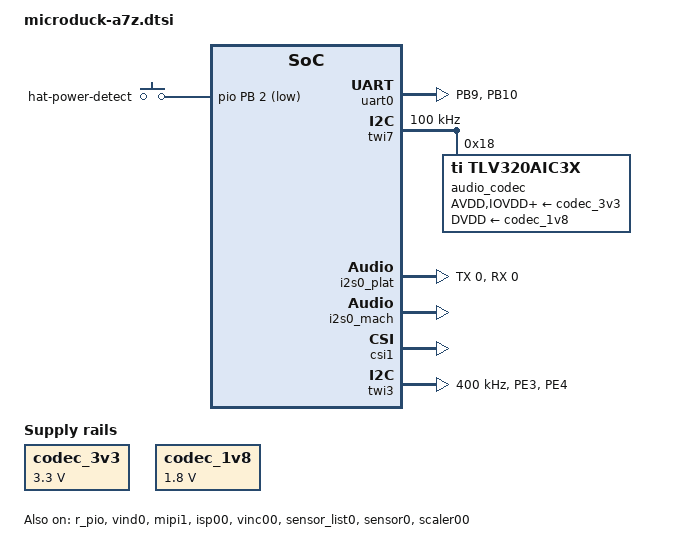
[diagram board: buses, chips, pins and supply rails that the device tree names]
/* 40-pin 排针（J11）映射——按原理图 40PIN Connector 页核对：
 *   3/5    TWI7_SDA/TWI7_SCK        → &twi7（HAT I2C@400k）
 *   7/11   PB0/PB1                   → 未用
 *   13/15  PL6_3V3/PL7_3V3           → 未用（PL7 = BMI088 INT）
 *   19/21/23/24 SPI1_MOSI/MISO/CLK/CS0 → 未用
 *   27/28  TWI2-SDA/TWI2-SCK         → 未用（HAT ID EEPROM DNP）
 *   31/33  PB2/PB3                   → PB2 = 关机检测；PB3 未用
 *   8/10   CPUX-TX/RX（UART0）       → 舵机总线
 *   12/35/36/38/40 I2S0 BCLK/LRCK/MCLK/DIN0/DOUT0 → 音频
 *   16/18 PJ24/PJ25_3V3, 22 PL5_3V3, 32 PM5_3V3, 37 PM4_3V3 → 电源
 */
// microduck HAT 适配（Cubie A7Z / Allwinner A733）
//
// ./bsp kernel 会把官方 board.dts 存成 board-a7z.dts，生成：
//   #include "board-a7z.dts"
//   #include "microduck-a7z.dtsi"
// 所以这里可以安全地覆盖/追加节点，不改官方文件。

#include <dt-bindings/gpio/gpio.h>
#include <dt-bindings/input/linux-event-codes.h>

/* =====================================================================
 * 1. 舵机串口：UART0 = PB9/PB10（排针 pin 8/10）
 *    波特率 1 Mbps、半双工由 HAT 硬件处理，DT 只负责把引脚给 UART0。
 *    官方 board.dts 里 uart0_pins_active 是空的（pins = "", ""），这里换成
 *    真实引脚；node 名不同，避免和官方节点重名。
 * ===================================================================== */
&pio {
	uart0_servo_pins: uart0-servo-pins {
		pins = "PB9", "PB10";
		function = "uart0";
		drive-strength = <10>;
	};

	uart0_servo_sleep: uart0-servo-sleep {
		pins = "PB9", "PB10";
		function = "gpio_in";
		drive-strength = <10>;
	};
};

&uart0 {
	status = "okay";
	pinctrl-names = "default", "sleep";
	pinctrl-0 = <&uart0_servo_pins>;
	pinctrl-1 = <&uart0_servo_sleep>;
};

/* 注意：console 不能再用 uart0，见 vendor/a733/boot.cmd（console=tty1）。
 * 用户态的 /dev/ttyAS0（部分 BSP 是 /dev/ttyS0）由 8250 驱动生成，
 * 具体名字上板后 ls /dev/tty* 确认。 */

/* =====================================================================
 * 2. I2C：TWI7 = PJ22/PJ23（排针 pin 3/5）→ /dev/i2c-7
 *    HAT 上的设备（RPI Robot HAT，400 kHz）：
 *      0x18 TLV320AIC3104  音频 codec（I2S 数据 + I2C 控制）
 *      0x29 VL53L5CX       ToF（Stemma 座）
 *      0x19 BMI088 加速度计 / 0x68 陀螺（焊了但官方软件不用，声明出来给 HAL）
 *      0x6A LSM6DSV16X     D1 版 HAT 用它替代 BMI088（默认不打开）
 * ===================================================================== */
&twi7 {
	status = "okay";
	/* 说明：曾把 codec 改到 i2c-gpio（参考实现早期也这么做），但真机上
	 * SCL 会被拉死在低电平（i2c-gpio 报 "can't read SCL"），恢复时序也救不回来，
	 * 属于总线电气/器件状态问题，与软件配置无关。这里回到常规的硬件 TWI7。
	 *
	 * 旧的说明保留如下：
	 * 播放时硬件 TWI7 会大量出现 Arbitration lost / Bus error / STOP failed
	 * （codec 把 SDA 拖住），导致寄存器读写连锁失败。参考实现早期也用
	 * i2c-gpio 跑这颗 codec（i2c-gpio-pihat），对时钟拉伸/边沿更宽容。
	 * 引脚不变（PJ22=SCL / PJ23=SDA），纯软件改动。 */
	/* 100 kHz：twi-sunxi 驱动只支持 100k(50% duty) 与 400k(40% duty)，
	 * 写 50k 会直接报 "unsupport duty with bus freq 50000" 并打乱时序。
	 * 100k 是这颗 codec 的常规速率。
	 *
	 * 试过 twi_drv_used = <1>（切 drv-mode 引擎）：真机更差，
	 * 每次传输都是 "drv-mode: Address + Write bit transmitted, ACK not received"
	 * （地址阶段就没有 ACK），48 条错误。已回退，保持默认 engine-mode。
	 *
	 * 结论：engine-mode 与 drv-mode 都失败，i2c-gpio（软件 I2C）下
	 * i2cdetect 却能同时看到 0x18（codec）与 0x6a（D1 版 HAT 的 LSM6DSV16X），
	 * 说明这是总线信号/接触的边际问题，不是控制器或配置问题。 */
	clock-frequency = <100000>;
	pinctrl-names = "default", "sleep";
	pinctrl-0 = <&twi7_pins_default>;
	pinctrl-1 = <&twi7_pins_sleep>;


	audio_codec: tlv320aic3104@18 {
		/* 官方 RPi/RK 移植（microduck/deploy/audio/aic3104-i2c3.dts）用的是
		 * 通用 "ti,tlv320aic3x"，不是 "ti,tlv320aic3104"：驱动对 3104 型号
		 * 会少加 aic3x_extra_snd_controls（Line2 bypass 等），控件集和 RPi
		 * overlay 不一致；两者都能驱动本芯片。要对齐官方就保持通用名。
		 * 回退：改回 "ti,tlv320aic3104"。 */
		compatible = "ti,tlv320aic3x";
		reg = <0x18>;
		#sound-dai-cells = <0>;
		status = "okay";
	};

	tof: vl53l5cx@29 {
		compatible = "st,vl53l5cx";
		reg = <0x29>;
		status = "disabled";
	};

	bmi088_accel: bmi088-accel@19 {
		compatible = "bosch,bmi088-accel";
		reg = <0x19>;
		status = "disabled";
	};

	bmi088_gyro: bmi088-gyro@68 {
		compatible = "bosch,bmi088-gyro";
		reg = <0x68>;
		status = "disabled";
	};

	/* D1 版 HAT：BMI088 换成 LSM6DSV16X（0x6A），需要时取消注释
	lsm6dsv16x@6a {
		compatible = "st,lsm6dsv16x";
		reg = <0x6a>;
		status = "okay";
	};
	*/
};

/* =====================================================================
 * 3. 音频 I2S0：PB5/PB6/PB7/PB8 = 排针 pin 12/35/40/38（BCLK/LRCK/DOUT/DIN），
 *    MCLK 在 PB4（pin 36）。用 Allwinner 的 soundcard-mach 把 codec 挂上。
 * ===================================================================== */

/* codec 供电：HAT 上 TLV320AIC3104 由 3.3V 常供。
 * 不配 regulator 的话驱动打印
 *   Invalid supply voltage(s) AVDD: -22, DVDD: -22
 * 并跳过 mic bias 配置（麦克风会没声音）。 */
/ {
	codec_3v3: regulator-codec-3v3 {
		compatible = "regulator-fixed";
		regulator-name = "codec-3v3";
		regulator-min-microvolt = <3300000>;
		regulator-max-microvolt = <3300000>;
		regulator-always-on;
	};
	/* TLV320AIC3104 的 DVDD 是数字核电源，必须 1.8V。
	 * 之前四路全接 3.3V，驱动直接拒绝：
	 *   tlv320aic3x 7-0018: Too high supply voltage(s) AVDD: 3300000, DVDD: 3300000
	 * 结果 mic bias / 内部参考不按 3.3V 配置，麦克风增益异常。 */
	codec_1v8: regulator-codec-1v8 {
		compatible = "regulator-fixed";
		regulator-name = "codec-1v8";
		regulator-min-microvolt = <1800000>;
		regulator-max-microvolt = <1800000>;
		regulator-always-on;
	};
};


&audio_codec {
	AVDD-supply  = <&codec_3v3>;
	DVDD-supply  = <&codec_1v8>;
	IOVDD-supply = <&codec_3v3>;
	DRVDD-supply = <&codec_3v3>;
};

&i2s0_plat {
	status = "okay";
	tdm-num = <0>;
	tx-pin = <0 1 2 3>;
	tx-pin0-map0 = <0x76543210>;
	tx-pin0-map1 = <0xFEDCBA98>;
	rx-pin = <0>;
	dai-type = "i2s";
	pinctrl-names = "default", "sleep";
	pinctrl-0 = <&i2s0_pins_a>, <&i2s0_pins_b>, <&i2s0_pins_c>,
		    <&i2s0_pins_e>, <&i2s0_pins_d>;
	pinctrl-1 = <&i2s0_pins_f>;
};


/* =====================================================================
 * I2S0 数据线（按 HAT 原理图放大图核对，**不要改方向**）：
 *
 *   IO_19 -> codec WCLK  = 40pin 35 = PB6 = i2s0_lrck
 *   IO_18 -> codec BCLK  = 40pin 12 = PB5 = i2s0_bclk
 *   IO_21 -> codec DIN   = 40pin 40 = PB7 = i2s0_dout0   (SoC 输出)
 *   IO_20 <- codec DOUT  = 40pin 38 = PB8 = i2s0_din0    (SoC 输入)
 *
 * 曾误以为 DIN/DOUT 与 PB7/PB8 交叉，改成 PB8=dout1/PB7=din1，
 * 真机更差（codec 掉线 + 总线报错），已回退为 board dts 的默认引脚组。
 * ===================================================================== */

&i2s0_mach {
	status = "okay";
	soundcard-mach,name = "microduck-audio";
	soundcard-mach,format = "i2s";
	/* 实验：codec 做 BCLK/WCLK 主（CBM_CFM），SoC 当从。
	 * 用来区分两种情况：
	 *   - 能出声  -> SoC 侧 BCLK/LRCK 输出有问题；
	 *   - 卡住/xrun -> codec 没收到 MCLK。
	 * 原配置（SoC 主，CBS_CFS）保留在注释里：
	 *   soundcard-mach,frame-master = <&i2s0_cpu>;
	 *   soundcard-mach,bitclock-master = <&i2s0_cpu>;
	 */
	soundcard-mach,frame-master = <&i2s0_cpu>;
	soundcard-mach,bitclock-master = <&i2s0_cpu>;
	soundcard-mach,slot-num = <2>;
	/* 16 bit：aplay 送的是 S16_LE，TLV320AIC3104 默认也是 16 bit 字长。
	 * 之前写 32（HDMI 那条通路的值）会让主机按 32 bit slot 发、codec 按
	 * 16 bit 收，数据错位，表现为"只有咔哒一声"。 */
	soundcard-mach,slot-width = <16>;
	i2s0_cpu: soundcard-mach,cpu {
		sound-dai = <&i2s0_plat>;
		soundcard-mach,pll-fs = <1>;
		/* MCLK 钉死在 12.000 MHz（Y1），与采样率无关：
		 *   mclk = mclk_fp[rate_family] * mclk_fs
		 * 这样 44.1k（22579200 族）和 48k（24576000 族）都给 codec
		 * 12.000 MHz。之前 mclk-fs=250 在 48k 正好是 12.000 MHz，
		 * 但 44.1k 会算成 44100*250 = 11.025 MHz，和 Y1 对不上，
		 * 44.1k 播放会失谐——官方移植正是用 fixed-clock 12 MHz 避开这点。
		 * 回退：删掉 mclk-fp，把 mclk-fs 改回 <250>。 */
		soundcard-mach,mclk-fs = <1>;
		soundcard-mach,mclk-fp = <12000000 12000000>;
	};
	soundcard-mach,codec {
		sound-dai = <&audio_codec>;
	};
};

/* HDMI 音频不再使用（micro 镜像无显示） */
&i2s3_plat {
	status = "disabled";
};
&i2s3_mach {
	status = "disabled";
};

/* =====================================================================
 * 4. 离散 GPIO
 *    pin 31 = PB2：HAT 关机检测 → gpio-keys（KEY_POWER）
 *    pin 33 = PB3：本设计未用
 *    pin 15 = PL7：BMI088 中断，软件不用，留空
 *    pin 27/28 = TWI2-SDA/SCK：HAT ID I2C（EEPROM DNP），留空
 * ===================================================================== */
/ {
	gpio-keys {
		compatible = "gpio-keys";
		status = "okay";

		hat_power_detect: hat-power-detect {
			label = "hat-power-detect";
			gpios = <&pio PB 2 GPIO_ACTIVE_LOW>;
			linux,code = <KEY_POWER>;
			wakeup-source;
		};
	};
};

/* =====================================================================
 * 5. 显示：micro 镜像不需要，关掉 DE/HDMI，省启动时间
 * ===================================================================== */
&de {
	status = "disabled";
};
&hdmi0 {
	status = "disabled";
};
&hdmi_codec {
	status = "disabled";
};

/* 摄像头（IMX219）单独放在 microduck-a7z-camera.dtsi，默认不启用：
 * A7Z 的 MIPI CSI 连接器用哪路 TWI/CSI，需要按板子原理图确认。 */

/* =====================================================================
 * R-PIO（PL/PM 区）先关掉
 * 这颗 BSP pinctrl 驱动在 r_pinctrl probe 时会 Oops：
 *   sunxi_bsp_pinctrl_init_with_variant+0x47c
 *   sun60iw2_r_pinctrl_probe
 * 直接把系统打死（kworker 里 deferred probe 时崩溃），连 ttyAS0/SD 都起不来。
 * microduck 用不到 PL/PM 引脚（HAT 全在 PB/PJ/PI 上），先 disabled。
 * ===================================================================== */
&r_pio {
	/* R 侧引脚（PL/PM）必须可用，否则整条 R 域全瘫：
	 *   - s_twi0/s_twi1 的引脚在 PL0/PL1（PMIC AXP8191 挂在 s_twi0 上），
	 *     关掉 r_pio 会让两条 TWI 一直 -EPROBE_DEFER，PMIC 永远不 probe；
	 *   - usb2-vbus / wifi_power_en / wifi_chip_en / leds 都用 PL2/PM0/PM1/PM2；
	 *   - HAT 的 TWI7（codec/IMU/ToF）也在 R 侧。
	 * 早期关掉它是因为 r_pinctrl probe 会 Oops，那是 TWI/AXP 驱动缺失时的
	 * deferred probe 时序问题；这些驱动补齐后实测稳定，故恢复 okay。
	 */
	status = "okay";
};

/* =====================================================================
 * 6. 上板实测必需的 SD / 中断覆盖（2026-10-24，从跑通的 dtb 反推回来）
 *
 * - 本板只有 SD 槽、没有 eMMC：sdc1/sdc2 关掉，否则 CQHCI 会一直刷 RTO。
 * - sdc0：
 *     * 无卡检测 GPIO（卡槽常闭）→ non-removable，并删掉 cd-* 属性；
 *     * 删掉 vmmc 以及 vqmmc/vdmmc 的 33sw/18sw 稳压器引用：这几路电压由 AXP8191
 *       提供，但内核侧 PMIC/TWI 驱动还没接入，留着会让 sdc0 probe 一直 -517；
 *     * 限 25MHz 并去掉 UHS 三种模式（UHS 需要 1.8V 切换，同样等 PMIC 接好）；
 *     * 中断直连 GIC（interrupt-parent = <&gic>）：sdc0 的命令完成中断经
 *       sunxi-wakeupgen 域时收不到（命令发出去后永远等不到 irq），直连后一次就通。
 * ===================================================================== */
&sdc1 {
	status = "disabled";
};

&sdc2 {
	status = "disabled";
};

&sdc0 {
	/delete-property/ vmmc-supply;
	/delete-property/ vqmmc33sw-supply;
	/delete-property/ vdmmc33sw-supply;
	/delete-property/ vqmmc18sw-supply;
	/delete-property/ vdmmc18sw-supply;
	/delete-property/ cd-gpios;
	/delete-property/ cd-used-24M;
	/delete-property/ cd-set-debounce;
	/delete-property/ sd-uhs-sdr50;
	/delete-property/ sd-uhs-ddr50;
	/delete-property/ sd-uhs-sdr104;
	non-removable;
	max-frequency = <25000000>;
	interrupt-parent = <&gic>;
};

/* =====================================================================
 * 7. 摄像头 VIN（原理图 J5：31-pin CAM，MIPI CSI 2-lane）
 *
 * board.dts 默认把整个 VIN 树关掉（vind0、csiN、mipiN、ispN、vincN）。
 * 这里按 MCSIB（D0/D1 + CLKA/CLKB）那组打开最小集合：
 *   vind0 = VIN 顶层（时钟/中断/寄存器）
 *   csi1  = MCSIB 通道；mipi1 = 对应 MIPI 接收
 *   isp00 = ISP；vinc00 = 视频输入捕获口（/dev/video* 从这里出）
 * 传感器驱动还需要按实际模组在 bsp/drivers/vin/modules/sensor 里选型，
 * 并把 sensor_list 配置补上，否则只有 VIN 设备、没有可用 video 节点。
 * ===================================================================== */
&vind0 {
	status = "okay";
};

&csi1 {
	status = "okay";
};

&mipi1 {
	status = "okay";
	/* mipi1 pinctrl: SoC dtsi 里 mipi1 用的是 mipib_pins_a/b（PK10-PK19），
	 * 与 csi1 申请的同一组引脚冲突：
	 *   pin PK12 already requested by 5821000.csi; cannot claim for 5810200.mipi
	 *   → mipi1 request pinctrl handle failed
	 * MIPI/CSI 共用这组引脚，交给 csi 统一 mux 即可，mipi 不再申请。 */
	/delete-property/ pinctrl-names;
	/delete-property/ pinctrl-0;
	/delete-property/ pinctrl-1;
};

&isp00 {
	status = "okay";
};

&vinc00 {
	status = "okay";
	/* MCSIB（MIPI CSI B）→ csi1 + mipi1；isp0；sensor_list0 */
	vinc0_csi_sel = <1>;
	vinc0_mipi_sel = <1>;
	vinc0_isp_sel = <0>;
	vinc0_isp_tx_ch = <0>;
	vinc0_rear_sensor_sel = <0>;
	vinc0_front_sensor_sel = <0>;
	vinc0_sensor_list = <0>;
};

/* ---------------------------------------------------------------------
 * IMX219（31-pin CAM，MIPI 2-lane，I2C = TWI3/PE3+PE4，地址 0x10）
 *
 * BSP VIN 的传感器不是在 i2c 节点下声明，而是：
 *   sensor_list0  —— 候选传感器列表（VIN 按顺序探测，能读 ID 的那个胜出）
 *   sensor0       —— 探测成功后使用的详细配置（mname/twi/时钟/GPIO/电源）
 * mname 必须等于驱动里的 SENSOR_NAME（imx219.c 里是 "imx219"）。
 * twi_addr 是 8 位地址：IMX219 7 位 0x10 → 0x20。
 * twi_cci_id 与 TWI 序号一致（3 = TWI3）。
 * ------------------------------------------------------------------- */

&pio {
	twi3_pins_default: twi3@0 {
		pins = "PE3", "PE4";
		function = "twi3";
		drive-strength = <10>;
		bias-pull-up;
	};

	twi3_pins_sleep: twi3@1 {
		pins = "PE3", "PE4";
		function = "gpio_in";
		bias-pull-up;
	};
};

&twi3 {
	pinctrl-names = "default", "sleep";
	pinctrl-0 = <&twi3_pins_default>;
	pinctrl-1 = <&twi3_pins_sleep>;
	/* twi-sunxi 的 probe 必须读到 clock-frequency，否则直接 -EINVAL：
	 *   "failed to get clock frequency" -> "TWI failed to get resource"
	 *   -> "probe of 2513000.twi failed with error -22"
	 * TWI3 是 IMX219 的控制总线（原理图 TWI3-SCK/SDA = PE3/PE4）。 */
	clock-frequency = <400000>;
	status = "okay";
};

&sensor_list0 {
	status = "okay";
	csi_sel = <0>;
	sensor00_mname = "imx219";
	sensor00_twi_addr = <0x20>;
	sensor00_type = <1>;
	sensor00_hflip = <0>;
	sensor00_vflip = <0>;
	sensor00_act_used = <0>;
	sensor00_act_name = "";
	sensor00_act_twi_addr = <>;
};

&sensor0 {
	status = "okay";
	sensor0_mname = "imx219";
	sensor0_twi_cci_id = <3>;
	sensor0_twi_addr = <0x20>;
	sensor0_mclk_id = <0>;
	sensor0_pos = "rear";
	/* IMX219 是 RAW Bayer 传感器，必须走 RAW → ISP → scaler 这条管线。
	 * 写成 0 会让 VIN 当成 YUV 传感器走 dv_timings 路径，结果：
	 *   sensor set dv timings error / sensor dv timings cap error
	 *   整条 media 管线所有实体的 fmt 停在 unknown/0x0
	 *   VIDIOC_S_FMT: Invalid argument
	 */
	sensor0_isp_used = <1>;
	sensor0_fmt = <0>;
	sensor0_stby_mode = <0>;
	sensor0_vflip = <0>;
	sensor0_hflip = <0>;
	sensor0_iovdd-supply = <>;
	sensor0_iovdd_vol = <>;
	sensor0_avdd-supply = <>;
	sensor0_avdd_vol = <>;
	sensor0_dvdd-supply = <>;
	sensor0_dvdd_vol = <>;
	/* 3V3/5V 由板上 DCDC1 → FB1 常供，没有独立控制脚；
	 * MCSI-RST-R / MCSI-STBY-R 走 PE/PK 的 GPIO，等确认引脚号后补
	 * sensor0_reset / sensor0_pwdn（先让传感器能被 I2C 探测到）。 */
	sensor0_power_en = <>;
	sensor0_reset = <>;
	sensor0_pwdn = <>;
	sensor0_sm_vs = <>;
	flash_handle = <>;
	act_handle = <>;
};

/* =====================================================================
 * 8. 关掉 board.dts 漏掉的 scaler 节点
 *
 * board.dts 只 disable 了 scaler00-03/10/20/30/40/50，漏了
 * scaler11/12/13/21/22/23/31/32/33。这些节点默认 okay 会去 probe，
 * 其中 scaler11(59103fc) 在 deferred probe 里空指针崩溃（scaler_probe+0x2b8），
 * 把 deferred-probe 的 kworker 打死，导致后面 VIN/sensor 探测全部中断。
 * microduck 不用 VIN 的硬件缩放，直接全部关掉。
 * ===================================================================== */
&scaler11 { status = "disabled"; };
&scaler12 { status = "disabled"; };
&scaler13 { status = "disabled"; };
&scaler21 { status = "disabled"; };
&scaler22 { status = "disabled"; };
&scaler23 { status = "disabled"; };
&scaler31 { status = "disabled"; };
&scaler32 { status = "disabled"; };
&scaler33 { status = "disabled"; };

/* ---------------------------------------------------------------------
 * 但 scaler00 必须打开：VIN 取图管线（vinc0 → isp00 → scaler00）里
 * scaler 是必经子设备。全关掉之后 v4l2 能枚举格式，但 S_FMT 会失败：
 *     v4l2 sub device scaler get_selection error!
 *     vin_pipeline_try_format failed
 *     VIDIOC_S_FMT: failed: Invalid argument
 * scaler00 的 work_mode=0 / device_id=0 是正常配置（崩掉的 scaler11 是
 * work_mode=0xff / device_id=5），所以只开这一个。
 * iommus 一并删掉：我们没开 AW_IOMMU，留着会让它 probe 一直 defer。
 * ------------------------------------------------------------------- */
&scaler00 {
	status = "okay";
	/delete-property/ iommus;
};

/* =====================================================================
 * 9. VIN 不用 IOMMU（去掉 iommus 引用）
 *
 * DT 里 vind0/csi/isp/vinc 都带 iommus = <&mmu_aw ...>。开了 AW_IOMMU 之后
 * iommu_master attach 一直 -517，导致 vin_core_probe 里 vin_iommu_en()
 * 拿到 NULL 直接 Oops（sunxi_iommu_distribute_mater_get+0x3c）。
 * microduck 用 CMA（dma_alloc_coherent）就够，直接把 iommus 删掉，
 * 同时配置里关掉 AW_IOMMU / VIN_IOMMU。
 * ===================================================================== */
&vind0 { /delete-property/ iommus; };
&csi1  { /delete-property/ iommus; };
&mipi1 { /delete-property/ iommus; };
&isp00 { /delete-property/ iommus; };
&vinc00 { /delete-property/ iommus; };
